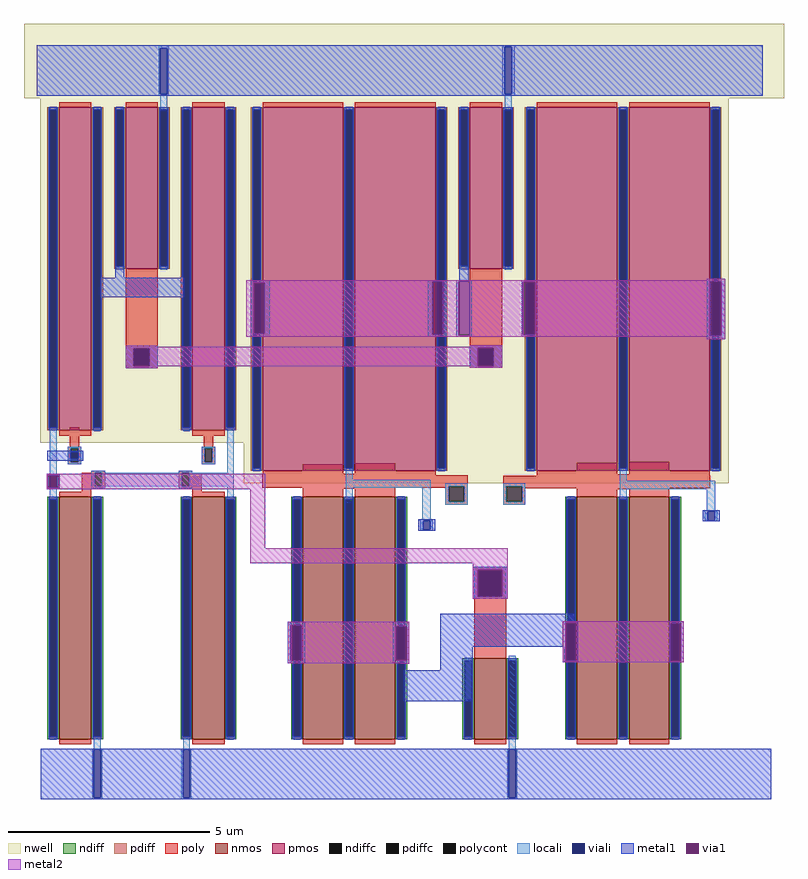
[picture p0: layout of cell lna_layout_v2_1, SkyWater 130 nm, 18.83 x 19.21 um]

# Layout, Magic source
magic
tech sky130A
magscale 1 2
<< nwell >>
rect -410 1118 3356 1474
rect -410 1108 576 1118
rect 594 1108 638 1110
rect 658 1108 3356 1118
rect -410 1106 3356 1108
rect 594 1048 638 1106
rect 1972 1040 2006 1106
rect 42 264 88 272
rect 1748 268 1794 274
rect -40 134 -38 168
rect 10 104 342 264
rect 1746 204 1798 268
rect 1800 236 1960 254
rect 18 -524 330 104
rect 692 -76 3044 204
rect 1706 -80 2036 -76
rect 16 -602 346 -524
rect 470 -602 538 -524
rect 1724 -802 2036 -80
<< pmos >>
rect 470 -540 538 -524
<< ndiff >>
rect 1474 -1680 1486 -1666
rect 2274 -1604 2284 -1570
rect 2842 -1684 2844 -1496
<< poly >>
rect 94 -142 254 246
rect 94 -216 140 -142
rect 204 -216 254 -142
rect 94 -232 254 -216
rect 1800 -140 1960 254
rect 1800 -214 1846 -140
rect 1910 -214 1960 -140
rect 1800 -230 1960 -214
rect -184 -622 -136 -524
rect 470 -566 538 -540
rect 480 -622 528 -566
rect -194 -630 -126 -622
rect -194 -698 -178 -630
rect -142 -698 -126 -630
rect -194 -708 -126 -698
rect 470 -630 538 -622
rect 470 -698 486 -630
rect 522 -698 538 -630
rect 470 -708 538 -698
rect -76 -750 -8 -740
rect -124 -818 -60 -750
rect -24 -818 -8 -750
rect -124 -828 -8 -818
rect 356 -750 424 -740
rect 356 -818 372 -750
rect 408 -818 472 -750
rect 972 -756 1172 -708
rect 1230 -756 1430 -704
rect 356 -828 472 -818
rect 770 -762 1430 -756
rect 2330 -758 2530 -702
rect 2588 -758 2788 -696
rect 770 -818 1788 -762
rect 2330 -766 2788 -758
rect 770 -824 1694 -818
rect -124 -870 -76 -828
rect 424 -870 472 -828
rect 972 -830 1430 -824
rect 972 -870 1172 -830
rect 1230 -870 1430 -830
rect 1678 -894 1694 -824
rect 1772 -894 1788 -818
rect 1678 -910 1788 -894
rect 1964 -818 2990 -766
rect 1964 -894 1980 -818
rect 2058 -828 2990 -818
rect 2058 -894 2074 -828
rect 2330 -832 2788 -828
rect 2330 -862 2530 -832
rect 2588 -856 2788 -832
rect 1964 -910 2074 -894
rect 1820 -1240 1980 -1216
rect 1820 -1352 1848 -1240
rect 1948 -1352 1980 -1240
rect 1820 -1670 1980 -1352
<< polycont >>
rect 140 -216 204 -142
rect 1846 -214 1910 -140
rect -178 -698 -142 -630
rect 486 -698 522 -630
rect -60 -818 -24 -750
rect 372 -818 408 -750
rect 1694 -894 1772 -818
rect 1980 -894 2058 -818
rect 1848 -1352 1948 -1240
<< locali >>
rect 258 1352 308 1368
rect 258 1126 266 1352
rect 300 1126 308 1352
rect 258 1118 308 1126
rect 1960 1360 2022 1368
rect 1960 1124 1972 1360
rect 2006 1124 2022 1360
rect 1960 1118 2022 1124
rect 266 1042 300 1118
rect 1972 1040 2006 1118
rect -40 134 -38 168
rect 94 -138 254 -120
rect 94 -220 136 -138
rect 208 -220 254 -138
rect 94 -232 254 -220
rect 1800 -136 1960 -118
rect 1800 -218 1842 -136
rect 1914 -218 1960 -136
rect 1800 -230 1960 -218
rect -282 -756 -248 -544
rect -194 -630 -126 -622
rect -194 -698 -178 -630
rect -142 -698 -126 -630
rect -194 -708 -126 -698
rect 470 -630 538 -622
rect 470 -698 486 -630
rect 522 -698 538 -630
rect 470 -708 538 -698
rect -76 -750 -8 -740
rect 356 -750 424 -740
rect 596 -750 630 -544
rect -298 -762 -232 -756
rect -298 -826 -282 -762
rect -248 -826 -232 -762
rect -298 -832 -232 -826
rect -76 -818 -60 -750
rect -24 -818 372 -750
rect 408 -818 630 -750
rect -76 -828 -8 -818
rect 356 -828 424 -818
rect -282 -872 -248 -832
rect 596 -872 630 -818
rect 1184 -784 1218 -744
rect 1184 -826 1606 -784
rect 2542 -790 2576 -744
rect 1184 -876 1218 -826
rect 1184 -902 1218 -884
rect 1564 -982 1606 -826
rect 1678 -818 1788 -802
rect 1678 -894 1694 -818
rect 1772 -894 1788 -818
rect 1678 -910 1788 -894
rect 1964 -818 2074 -802
rect 1964 -894 1980 -818
rect 2058 -894 2074 -818
rect 2542 -832 3016 -790
rect 2542 -876 2576 -832
rect 1964 -910 2074 -894
rect 2974 -936 3016 -832
rect 2964 -942 3026 -936
rect 1554 -988 1616 -982
rect 1554 -1032 1568 -988
rect 1604 -1032 1616 -988
rect 2964 -986 2978 -942
rect 3014 -986 3026 -942
rect 2964 -992 3026 -986
rect 1554 -1038 1616 -1032
rect 1820 -1234 1980 -1216
rect 1820 -1362 1842 -1234
rect 1956 -1362 1980 -1234
rect 1820 -1374 1980 -1362
rect 2284 -1604 2286 -1570
rect 1774 -1868 1808 -1688
rect -64 -2118 -30 -2072
rect 378 -2118 412 -2072
rect 1992 -2118 2026 -1658
rect -72 -2124 -22 -2118
rect -72 -2360 -64 -2124
rect -30 -2360 -22 -2124
rect -72 -2368 -22 -2360
rect 370 -2124 420 -2118
rect 370 -2360 378 -2124
rect 412 -2360 420 -2124
rect 370 -2368 420 -2360
rect 1984 -2124 2034 -2118
rect 1984 -2360 1992 -2124
rect 2026 -2360 2034 -2124
rect 1984 -2368 2034 -2360
<< viali >>
rect 266 1126 300 1352
rect 1972 1124 2006 1360
rect 136 -142 208 -138
rect 136 -216 140 -142
rect 140 -216 204 -142
rect 204 -216 208 -142
rect 136 -220 208 -216
rect 1842 -140 1914 -136
rect 1842 -214 1846 -140
rect 1846 -214 1910 -140
rect 1910 -214 1914 -140
rect 1842 -218 1914 -214
rect -178 -682 -142 -648
rect -282 -826 -248 -762
rect 1568 -1032 1604 -988
rect 2978 -986 3014 -942
rect 1842 -1240 1956 -1234
rect 1842 -1352 1848 -1240
rect 1848 -1352 1948 -1240
rect 1948 -1352 1956 -1240
rect 1842 -1362 1956 -1352
rect -64 -2360 -30 -2124
rect 378 -2360 412 -2124
rect 1992 -2360 2026 -2124
<< metal1 >>
rect -346 1360 3250 1368
rect -346 1352 1972 1360
rect -346 1126 266 1352
rect 300 1126 1972 1352
rect -346 1124 1972 1126
rect 2006 1124 3250 1360
rect -346 1118 3250 1124
rect 42 216 88 272
rect -30 118 384 216
rect 1748 204 1794 274
rect 714 190 808 204
rect 714 -62 728 190
rect 784 -62 808 190
rect 714 -76 808 -62
rect 1590 198 1682 204
rect 1590 -66 1612 198
rect 1664 -66 1682 198
rect 1590 -76 1682 -66
rect 1732 198 1808 204
rect 1732 -70 1744 198
rect 1800 -70 1808 198
rect 1732 -76 1808 -70
rect 2056 196 2084 204
rect 2974 198 3064 212
rect 2056 -66 2064 196
rect 2056 -76 2084 -66
rect 2974 -72 2990 198
rect 3044 -72 3064 198
rect 2974 -88 3064 -72
rect 94 -134 254 -120
rect 94 -224 132 -134
rect 212 -224 254 -134
rect 94 -232 254 -224
rect 1800 -132 1960 -118
rect 1800 -222 1838 -132
rect 1918 -222 1960 -132
rect 1800 -230 1960 -222
rect -296 -648 -116 -642
rect -296 -682 -178 -648
rect -142 -682 -116 -648
rect -296 -690 -116 -682
rect -298 -762 -232 -756
rect -298 -826 -292 -762
rect -238 -826 -232 -762
rect -298 -832 -232 -826
rect 2954 -942 3038 -936
rect 1544 -988 1628 -982
rect 1544 -1032 1568 -988
rect 1604 -1032 1628 -988
rect 2954 -986 2978 -942
rect 3014 -986 3038 -942
rect 2954 -992 3038 -986
rect 1544 -1038 1628 -1032
rect 1814 -1232 1986 -1216
rect 1814 -1366 1838 -1232
rect 1960 -1366 1986 -1232
rect 1814 -1374 1986 -1366
rect 1652 -1486 2322 -1450
rect 906 -1506 984 -1490
rect 906 -1682 914 -1506
rect 966 -1682 984 -1506
rect 906 -1694 984 -1682
rect 1418 -1512 1500 -1490
rect 1418 -1680 1432 -1512
rect 1486 -1680 1500 -1512
rect 1418 -1694 1500 -1680
rect 1460 -1696 1500 -1694
rect 1652 -1494 2336 -1486
rect 1652 -1612 2274 -1494
rect 1652 -1730 1814 -1612
rect 2268 -1682 2274 -1612
rect 2328 -1682 2336 -1494
rect 2268 -1690 2336 -1682
rect 2788 -1496 2860 -1486
rect 2788 -1684 2792 -1496
rect 2844 -1684 2860 -1496
rect 2788 -1690 2860 -1684
rect 1472 -1882 1814 -1730
rect -326 -2124 3294 -2118
rect -326 -2360 -64 -2124
rect -30 -2360 378 -2124
rect 412 -2360 1992 -2124
rect 2026 -2360 3294 -2124
rect -326 -2368 3294 -2360
<< via1 >>
rect 728 -62 784 190
rect 1612 -66 1664 198
rect 1744 -70 1800 198
rect 2064 -66 2124 196
rect 2990 -72 3044 198
rect 132 -138 212 -134
rect 132 -220 136 -138
rect 136 -220 208 -138
rect 208 -220 212 -138
rect 132 -224 212 -220
rect 1838 -136 1918 -132
rect 1838 -218 1842 -136
rect 1842 -218 1914 -136
rect 1914 -218 1918 -136
rect 1838 -222 1918 -218
rect -292 -826 -282 -762
rect -282 -826 -248 -762
rect -248 -826 -238 -762
rect 1838 -1234 1960 -1232
rect 1838 -1362 1842 -1234
rect 1842 -1362 1956 -1234
rect 1956 -1362 1960 -1234
rect 1838 -1366 1960 -1362
rect 914 -1682 966 -1506
rect 1432 -1680 1486 -1512
rect 2274 -1682 2328 -1494
rect 2792 -1684 2844 -1496
<< metal2 >>
rect 2974 204 3064 212
rect 692 198 3064 204
rect 692 190 1612 198
rect 692 -62 728 190
rect 784 -62 1612 190
rect 692 -66 1612 -62
rect 1664 -66 1744 198
rect 692 -70 1744 -66
rect 1800 196 2990 198
rect 1800 -66 2064 196
rect 2124 -66 2990 196
rect 1800 -70 2990 -66
rect 692 -72 2990 -70
rect 3044 -72 3064 198
rect 692 -76 3064 -72
rect 2974 -88 3064 -76
rect 94 -126 254 -120
rect 1800 -126 1960 -118
rect 94 -132 1960 -126
rect 94 -134 1838 -132
rect 94 -224 132 -134
rect 212 -222 1838 -134
rect 1918 -222 1960 -132
rect 212 -224 254 -222
rect 94 -232 254 -224
rect 1800 -230 1960 -222
rect -298 -762 786 -756
rect -298 -826 -292 -762
rect -238 -826 786 -762
rect -298 -832 786 -826
rect 710 -1124 786 -832
rect 710 -1200 1986 -1124
rect 1814 -1232 1986 -1200
rect 1814 -1366 1838 -1232
rect 1960 -1366 1986 -1232
rect 1814 -1374 1986 -1366
rect 898 -1506 1500 -1490
rect 898 -1682 914 -1506
rect 966 -1512 1500 -1506
rect 966 -1680 1432 -1512
rect 1486 -1680 1500 -1512
rect 966 -1682 1500 -1680
rect 898 -1694 1500 -1682
rect 2260 -1494 2860 -1486
rect 2260 -1682 2274 -1494
rect 2328 -1496 2860 -1494
rect 2328 -1682 2792 -1496
rect 2260 -1684 2792 -1682
rect 2844 -1684 2860 -1496
rect 2260 -1690 2860 -1684
rect 1460 -1696 1500 -1694
use sky130_fd_pr__nfet_01v8_8BU2MY  sky130_fd_pr__nfet_01v8_8BU2MY_0
transform 1 0 1900 0 1 -1870
box -138 -226 138 226
use sky130_fd_pr__nfet_01v8_9GUA3Y  sky130_fd_pr__nfet_01v8_9GUA3Y_0
transform 1 0 504 0 1 -1470
box -138 -626 138 626
use sky130_fd_pr__nfet_01v8_9GUA3Y  sky130_fd_pr__nfet_01v8_9GUA3Y_1
transform 1 0 -156 0 1 -1470
box -138 -626 138 626
use sky130_fd_pr__nfet_01v8_HZDBC9  sky130_fd_pr__nfet_01v8_HZDBC9_0
transform 1 0 2559 0 1 -1470
box -287 -626 287 626
use sky130_fd_pr__nfet_01v8_HZDBC9  sky130_fd_pr__nfet_01v8_HZDBC9_1
transform 1 0 1201 0 1 -1470
box -287 -626 287 626
use sky130_fd_pr__pfet_01v8_AM3UTC  sky130_fd_pr__pfet_01v8_AM3UTC_0
transform 1 0 -156 0 1 260
box -174 -862 174 862
use sky130_fd_pr__pfet_01v8_AM3UTC  sky130_fd_pr__pfet_01v8_AM3UTC_1
transform 1 0 504 0 1 260
box -174 -862 174 862
use sky130_fd_pr__pfet_01v8_S43UTC  sky130_fd_pr__pfet_01v8_S43UTC_0
transform 1 0 1880 0 1 660
box -174 -462 174 462
use sky130_fd_pr__pfet_01v8_S43UTC  sky130_fd_pr__pfet_01v8_S43UTC_1
transform 1 0 174 0 1 660
box -174 -462 174 462
use sky130_fd_pr__pfet_01v8_VBYK8W  sky130_fd_pr__pfet_01v8_VBYK8W_0
transform 1 0 1201 0 1 160
box -523 -962 523 962
use sky130_fd_pr__pfet_01v8_VBYK8W  sky130_fd_pr__pfet_01v8_VBYK8W_1
transform 1 0 2559 0 1 160
box -523 -962 523 962
<< end >>

# cell sky130_fd_pr__nfet_01v8_8BU2MY: kit device sky130_fd_pr__nfet_01v8, w 2 l 0.8 m 1 nf 1 diffcov 100 polycov 100 guard 0 glc 0 grc 0 gtc 0 gbc 0 tbcov 100 rlcov 100 topc 0 botc 0 poverlap 0 doverlap 0 lmin 0.15 wmin 0.42 compatible {sky130_fd_pr__nfet_01v8 sky130_fd_pr__nfet_01v8_lvt sky130_fd_bs_flash__special_sonosfet_star sky130_fd_pr__nfet_g5v0d10v5 sky130_fd_pr__nfet_05v0_nvt sky130_fd_pr__nfet_03v3_nvt} full_metal 0 viasrc 100 viadrn 100 viagate 100 viagb 0 viagr 0 viagl 0 viagt 0

# cell sky130_fd_pr__nfet_01v8_9GUA3Y: kit device sky130_fd_pr__nfet_01v8, w 6 l 0.8 m 1 nf 1 diffcov 100 polycov 100 guard 0 glc 0 grc 0 gtc 0 gbc 0 tbcov 100 rlcov 100 topc 0 botc 0 poverlap 0 doverlap 0 lmin 0.15 wmin 0.42 compatible {sky130_fd_pr__nfet_01v8 sky130_fd_pr__nfet_01v8_lvt sky130_fd_bs_flash__special_sonosfet_star sky130_fd_pr__nfet_g5v0d10v5 sky130_fd_pr__nfet_05v0_nvt sky130_fd_pr__nfet_03v3_nvt} full_metal 0 viasrc 100 viadrn 100 viagate 100 viagb 0 viagr 0 viagl 0 viagt 0

# cell sky130_fd_pr__nfet_01v8_HZDBC9: kit device sky130_fd_pr__nfet_01v8, w 6 l 1 m 1 nf 2 diffcov 100 polycov 100 guard 0 glc 0 grc 0 gtc 0 gbc 0 tbcov 100 rlcov 100 topc 0 botc 0 poverlap 0 doverlap 1 lmin 0.15 wmin 0.42 compatible {sky130_fd_pr__nfet_01v8 sky130_fd_pr__nfet_01v8_lvt sky130_fd_bs_flash__special_sonosfet_star sky130_fd_pr__nfet_g5v0d10v5 sky130_fd_pr__nfet_05v0_nvt sky130_fd_pr__nfet_03v3_nvt} full_metal 0 viasrc 100 viadrn 100 viagate 100 viagb 0 viagr 0 viagl 0 viagt 0

# cell sky130_fd_pr__pfet_01v8_AM3UTC: kit device sky130_fd_pr__pfet_01v8, w 8 l 0.8 m 1 nf 1 diffcov 100 polycov 100 guard 0 glc 0 grc 0 gtc 0 gbc 0 tbcov 100 rlcov 100 topc 0 botc 0 poverlap 0 doverlap 0 lmin 0.15 wmin 0.42 compatible {sky130_fd_pr__pfet_01v8 sky130_fd_pr__pfet_01v8_lvt sky130_fd_pr__pfet_01v8_hvt sky130_fd_pr__pfet_g5v0d10v5} full_metal 0 viasrc 100 viadrn 100 viagate 100 viagb 0 viagr 0 viagl 0 viagt 0

# cell sky130_fd_pr__pfet_01v8_S43UTC: kit device sky130_fd_pr__pfet_01v8, w 4 l 0.8 m 1 nf 1 diffcov 100 polycov 100 guard 0 glc 0 grc 0 gtc 0 gbc 0 tbcov 100 rlcov 100 topc 0 botc 0 poverlap 0 doverlap 0 lmin 0.15 wmin 0.42 compatible {sky130_fd_pr__pfet_01v8 sky130_fd_pr__pfet_01v8_lvt sky130_fd_pr__pfet_01v8_hvt sky130_fd_pr__pfet_g5v0d10v5} full_metal 0 viasrc 100 viadrn 100 viagate 100 viagb 0 viagr 0 viagl 0 viagt 0

# cell sky130_fd_pr__pfet_01v8_VBYK8W: kit device sky130_fd_pr__pfet_01v8, w 9 l 2 m 1 nf 2 diffcov 100 polycov 100 guard 0 glc 0 grc 0 gtc 0 gbc 0 tbcov 100 rlcov 100 topc 0 botc 0 poverlap 0 doverlap 1 lmin 0.15 wmin 0.42 compatible {sky130_fd_pr__pfet_01v8 sky130_fd_pr__pfet_01v8_lvt sky130_fd_pr__pfet_01v8_hvt sky130_fd_pr__pfet_g5v0d10v5} full_metal 0 viasrc 100 viadrn 100 viagate 100 viagb 0 viagr 0 viagl 0 viagt 0
